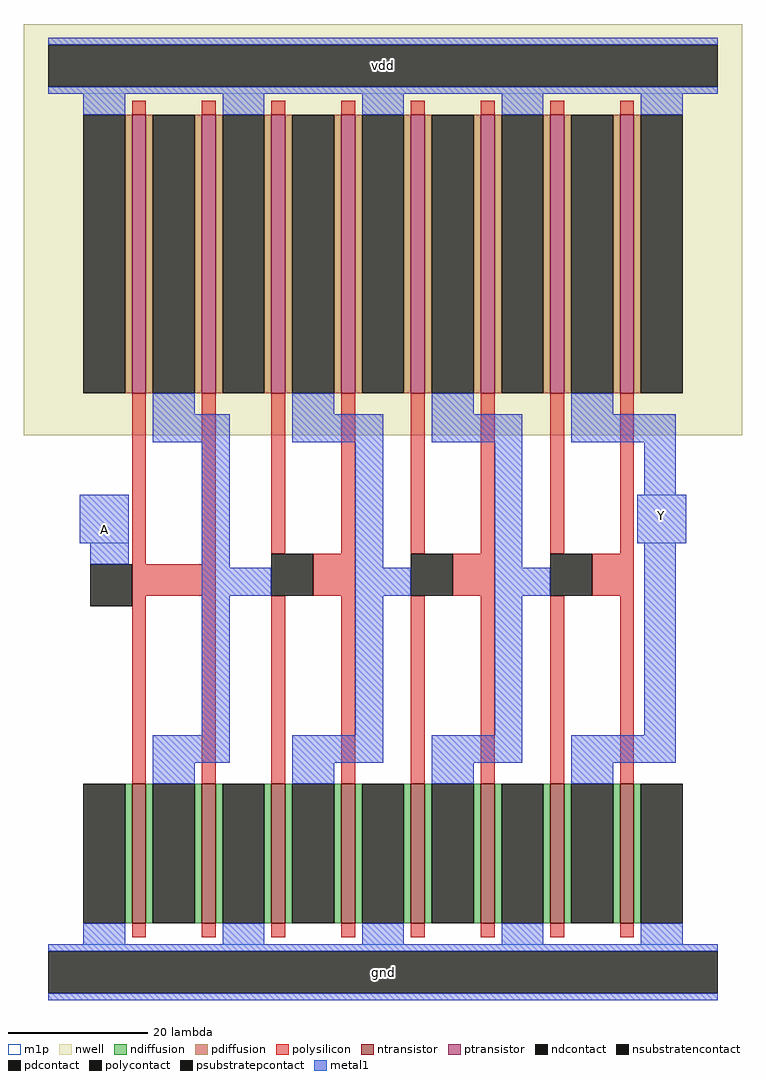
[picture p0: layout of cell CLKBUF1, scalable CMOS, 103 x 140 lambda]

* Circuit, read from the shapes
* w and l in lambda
.subckt CLKBUF1 A Y vdd gnd
M1 n1 A gnd gnd nfet w=20 l=2 m=2
M2 n2 n1 gnd gnd nfet w=20 l=2 m=2
M3 n3 n2 gnd gnd nfet w=20 l=2 m=2
M4 Y n3 gnd gnd nfet w=20 l=2 m=2
M5 n1 A vdd vdd pfet w=40 l=2 m=2
M6 n2 n1 vdd vdd pfet w=40 l=2 m=2
M7 n3 n2 vdd vdd pfet w=40 l=2 m=2
M8 Y n3 vdd vdd pfet w=40 l=2 m=2
.ends

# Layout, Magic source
magic
tech scmos
magscale 1 2
<< nwell >>
rect -13 154 193 272
<< ntransistor >>
rect 18 14 22 54
rect 38 14 42 54
rect 58 14 62 54
rect 78 14 82 54
rect 98 14 102 54
rect 118 14 122 54
rect 138 14 142 54
rect 158 14 162 54
<< ptransistor >>
rect 18 166 22 246
rect 38 166 42 246
rect 58 166 62 246
rect 78 166 82 246
rect 98 166 102 246
rect 118 166 122 246
rect 138 166 142 246
rect 158 166 162 246
<< ndiffusion >>
rect 16 14 18 54
rect 22 14 24 54
rect 36 14 38 54
rect 42 14 44 54
rect 56 14 58 54
rect 62 14 64 54
rect 76 14 78 54
rect 82 14 84 54
rect 96 14 98 54
rect 102 14 104 54
rect 116 14 118 54
rect 122 14 124 54
rect 136 14 138 54
rect 142 14 144 54
rect 156 14 158 54
rect 162 14 164 54
<< pdiffusion >>
rect 16 166 18 246
rect 22 166 24 246
rect 36 166 38 246
rect 42 166 44 246
rect 56 166 58 246
rect 62 166 64 246
rect 76 166 78 246
rect 82 166 84 246
rect 96 166 98 246
rect 102 166 104 246
rect 116 166 118 246
rect 122 166 124 246
rect 136 166 138 246
rect 142 166 144 246
rect 156 166 158 246
rect 162 166 164 246
<< ndcontact >>
rect 4 14 16 54
rect 24 14 36 54
rect 44 14 56 54
rect 64 14 76 54
rect 84 14 96 54
rect 104 14 116 54
rect 124 14 136 54
rect 144 14 156 54
rect 164 14 176 54
<< pdcontact >>
rect 4 166 16 246
rect 24 166 36 246
rect 44 166 56 246
rect 64 166 76 246
rect 84 166 96 246
rect 104 166 116 246
rect 124 166 136 246
rect 144 166 156 246
rect 164 166 176 246
<< psubstratepcontact >>
rect -6 -6 186 6
<< nsubstratencontact >>
rect -6 254 186 266
<< polysilicon >>
rect 18 246 22 250
rect 38 246 42 250
rect 58 246 62 250
rect 78 246 82 250
rect 98 246 102 250
rect 118 246 122 250
rect 138 246 142 250
rect 158 246 162 250
rect 18 117 22 166
rect 38 117 42 166
rect 18 108 42 117
rect 18 54 22 108
rect 38 54 42 108
rect 58 120 62 166
rect 78 120 82 166
rect 70 108 82 120
rect 58 54 62 108
rect 78 54 82 108
rect 98 120 102 166
rect 118 120 122 166
rect 110 108 122 120
rect 98 54 102 108
rect 118 54 122 108
rect 138 120 142 166
rect 158 120 162 166
rect 150 108 162 120
rect 138 54 142 108
rect 158 54 162 108
rect 18 10 22 14
rect 38 10 42 14
rect 58 10 62 14
rect 78 10 82 14
rect 98 10 102 14
rect 118 10 122 14
rect 138 10 142 14
rect 158 10 162 14
<< polycontact >>
rect 6 105 18 117
rect 58 108 70 120
rect 98 108 110 120
rect 138 108 150 120
<< metal1 >>
rect -6 266 186 268
rect -6 252 186 254
rect 4 246 16 252
rect 44 246 56 252
rect 84 246 96 252
rect 124 246 136 252
rect 164 246 176 252
rect 24 160 36 166
rect 64 160 76 166
rect 104 160 116 166
rect 144 160 156 166
rect 24 152 46 160
rect 64 152 90 160
rect 104 152 130 160
rect 144 152 174 160
rect 3 123 17 137
rect 6 117 17 123
rect 38 116 46 152
rect 38 108 58 116
rect 82 116 90 152
rect 82 108 98 116
rect 122 116 130 152
rect 165 137 174 152
rect 163 123 177 137
rect 122 108 138 116
rect 38 68 46 108
rect 82 68 90 108
rect 122 68 130 108
rect 165 68 174 123
rect 24 60 46 68
rect 64 60 90 68
rect 104 60 130 68
rect 144 60 174 68
rect 24 54 36 60
rect 64 54 76 60
rect 104 54 116 60
rect 144 54 156 60
rect 4 8 16 14
rect 44 8 56 14
rect 84 8 96 14
rect 124 8 136 14
rect 164 8 176 14
rect -6 6 186 8
rect -6 -8 186 -6
<< m1p >>
rect -6 252 186 268
rect 3 123 17 137
rect 163 123 177 137
rect -6 -8 186 8
<< labels >>
rlabel nsubstratencontact 90 260 90 260 0 vdd
port 3 nsew power bidirectional abutment
rlabel psubstratepcontact 90 0 90 0 0 gnd
port 4 nsew ground bidirectional abutment
rlabel metal1 10 127 10 127 0 A
port 1 nsew signal input
rlabel metal1 170 131 170 131 0 Y
port 2 nsew signal output
<< properties >>
string FIXED_BBOX 0 0 180 260
string LEFclass CORE
string LEFsite core
string LEFsymmetry X Y
<< end >>
